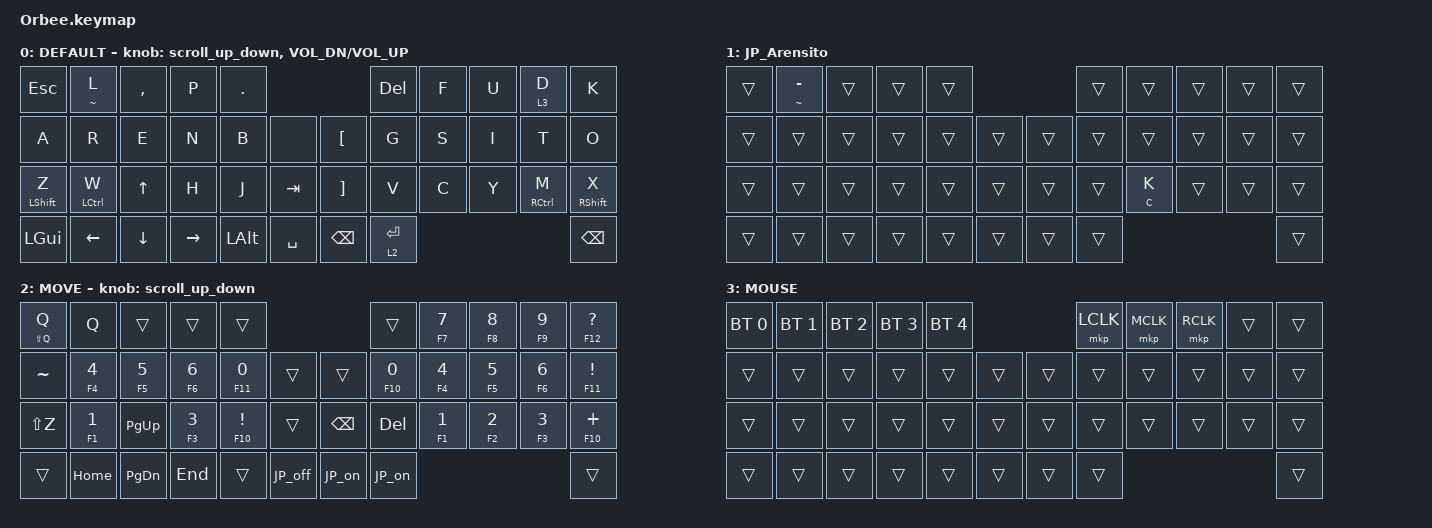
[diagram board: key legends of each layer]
#include <behaviors.dtsi>
#include <dt-bindings/zmk/bt.h>
#include <dt-bindings/zmk/keys.h>
#include <dt-bindings/zmk/pointing.h>

#define ZMK_POINTING_DEFAULT_SCRL_VAL 100
#define MOUSE 6

&mt {
    flavor = "balanced";
    quick-tap-ms = <0>;
};

/ {
    macros {
        to_layer_0: to_layer_0 {
            compatible = "zmk,behavior-macro-one-param";
            #binding-cells = <1>;
            bindings = <&to 0 &macro_param_1to1 &kp MACRO_PLACEHOLDER>;
            label = "TO_LAYER_0";
        };

        backslash: backslash {
            compatible = "zmk,behavior-macro";
            #binding-cells = <0>;
            bindings = <&kp 0x89>;
            label = "BACKSLASH";
        };

        pipe: pipe {
            compatible = "zmk,behavior-macro";
            #binding-cells = <0>;
            bindings = <&kp LS(0x89)>;
            label = "PIPE";
        };

        under: under {
            compatible = "zmk,behavior-macro";
            #binding-cells = <0>;
            bindings = <&kp LS(0x87)>;
            label = "UNDER";
        };

        JP_on: JP_on {
            compatible = "zmk,behavior-macro";
            #binding-cells = <0>;
            bindings = <&to 1 &kp INT_HENKAN>;
            label = "JP_ON";
        };

        JP_off: JP_off {
            compatible = "zmk,behavior-macro";
            #binding-cells = <0>;
            bindings = <&to 0 &kp INT_MUHENKAN>, <&macro_press>;

            label = "JP_OFF";
        };
    };

    behaviors {
        touch_behavior_1: touch1 {
            compatible = "zmk,behavior-momentary";
            label = "TouchKey1";
            bindings = <&kp A>;
        };

        touch_behavior_2: touch2 {
            compatible = "zmk,behavior-momentary";
            label = "TouchKey2";
            bindings = <&kp B>;
        };

        touch_behavior_3: touch3 {
            compatible = "zmk,behavior-momentary";
            label = "TouchKey3";
            bindings = <&mo 1>;
        };

        lt_to_layer_0: lt_to_layer_0 {
            compatible = "zmk,behavior-hold-tap";
            label = "LAYER_TAP_TO_0";
            bindings = <&mo>, <&to_layer_0>;

            #binding-cells = <2>;
            tapping-term-ms = <200>;
        };

        scroll_up_down: behavior_sensor_rotate_mouse_wheel_up_down {
            compatible = "zmk,behavior-sensor-rotate";
            #sensor-binding-cells = <0>;
            bindings = <&msc SCRL_UP>, <&msc SCRL_DOWN>;

            tap-ms = <20>;
        };
    };

    combos {
        compatible = "zmk,combos";

        // Mouse controls

        combo_left_click {
            key-positions = <6 18>; // y c
            bindings = <&mkp LCLK>;
        };

        combo_right_click {
            key-positions = <20 8>; // y m
            bindings = <&mkp RCLK>;
        };

        combo_middle_click {
            key-positions = <7 19>; // c y m
            bindings = <&mkp MCLK>;
        };

        combo_back {
            key-positions = <6 7>; // c v
            bindings = <&mkp MB4>;
        };

        combo_forward {
            key-positions = <8 7>; // m x
            bindings = <&mkp MB5>;
        };

        // Symbol combos based on default_layer layout

        combo_quote_double {
            key-positions = <1 3 2>; // l ,p
            bindings = <&kp DQT>; // " in JP keyboard
        };

        combo_grave {
            key-positions = <1 2>; // l ,
            bindings = <&kp GRAVE>; // ` in JP keyboard
        };

        combo_quote_single {
            key-positions = <2 3>; // , p
            bindings = <&kp SQT>; // ' in JP keyboard
        };

        combo_hash {
            key-positions = <0 10>; // Esc l
            bindings = <&kp HASH>;
        };

        combo_semicolon {
            key-positions = <2 12>; // , e
            bindings = <&kp SEMI>;
        };

        combo_pipe {
            key-positions = <3 13>; // p n
            bindings = <&kp PIPE>;
        };

        combo_colon {
            key-positions = <4 14>; // . b
            bindings = <&kp COLON>; // : in JP keyboard
        };

        combo_underscore {
            key-positions = <25 26>; // h j
            bindings = <&kp UNDER>;
        };

        combo_minus {
            key-positions = <13 14>; // n b
            bindings = <&kp MINUS>;
        };

        combo_equal {
            key-positions = <3 4>; // p .
            bindings = <&kp EQUAL>; // = in JP keyboard
        };

        combo_plus {
            key-positions = <35 37 24>; // left up down
            bindings = <&kp PLUS>; // + in JP keyboard
        };

        combo_asterisk {
            key-positions = <23 12 25>; // w e h
            bindings = <&kp ASTRK>; // * in JP keyboard
        };

        combo_caret {
            key-positions = <11 2 13>; // r , n
            bindings = <&kp CARET>; // ^ in JP keyboard
        };

        combo_slash {
            key-positions = <11 2>; // r ,
            bindings = <&kp SLASH>;
        };

        combo_backslash {
            key-positions = <2 13>; // , n
            bindings = <&kp BSLH>;
        };

        combo_paren_left {
            key-positions = <0 1>; // f u
            bindings = <&mt RPAR LPAR>; // ( in JP keyboard
        };

        combo_paren_right {
            key-positions = <0 1 2>; // f u d
            bindings = <&kp RPAR>; // ) in JP keyboard
        };

        combo_prcnt {
            bindings = <&kp PRCNT>;
            key-positions = <3 30 20>;
        };

        combo_amps {
            bindings = <&kp AMPS>;
            key-positions = <10 13 8>;
        };

        combo_at {
            bindings = <&kp AT>;
            key-positions = <10 20 32>;
        };

        combo_dllr {
            bindings = <&kp DLLR>;
            key-positions = <1 11 8>;
        };

        combo_henkan {
            bindings = <&JP_on>;
            key-positions = <40 41>;
        };

        combo_muhenkan {
            bindings = <&JP_off>;
            key-positions = <39 38>;
        };
    };

    keymap {
        compatible = "zmk,keymap";

        DEFAULT {
            bindings = <
&kp ESC           &mt TILDE L  &kp COMMA  &kp P      &kp DOT                          &kp DEL      &kp F  &kp U  &lt 3 D      &kp K
&kp A             &kp R        &kp E      &kp N      &kp B     &none        &kp LBKT  &kp G        &kp S  &kp I  &kp T        &kp O
&mt LEFT_SHIFT Z  &mt LCTRL W  &kp UP     &kp H      &kp J     &kp TAB      &kp RBKT  &kp V        &kp C  &kp Y  &mt RCTRL M  &mt RSHIFT X
&kp LGUI          &kp LEFT     &kp DOWN   &kp RIGHT  &kp LALT  &kp SPACE    &kp BSPC  &lt 2 ENTER                             &kp BSPC
            >;

            sensor-bindings =
                <&scroll_up_down>,
                <&inc_dec_kp C_VOL_DN C_VOL_UP>;
        };

        JP_Arensito {
            bindings = <
&trans  &mt TILDE MINUS  &trans  &trans  &trans                    &trans  &trans   &trans  &trans  &trans
&trans  &trans           &trans  &trans  &trans  &trans    &trans  &trans  &trans   &trans  &trans  &trans
&trans  &trans           &trans  &trans  &trans  &trans    &trans  &trans  &mt C K  &trans  &trans  &trans
&trans  &trans           &trans  &trans  &trans  &trans    &trans  &trans                           &trans
            >;
        };

        MOVE {
            bindings = <
&mt LS(Q) Q  &kp Q      &trans     &trans     &trans                             &trans      &mt F7 N7  &mt F8 N8  &mt F9 N9  &mt F12 QMARK
&kp TILDE    &mt F4 N4  &mt F5 N5  &mt F6 N6  &mt F11 N0    &trans     &trans    &mt F10 N0  &mt F4 N4  &mt F5 N5  &mt F6 N6  &mt F11 EXCL
&kp LS(Z)    &mt F1 N1  &kp PG_UP  &mt F3 N3  &mt F10 EXCL  &trans     &kp BSPC  &kp DEL     &mt F1 N1  &mt F2 N2  &mt F3 N3  &mt F10 PLUS
&trans       &kp HOME   &kp PG_DN  &kp END    &trans        &JP_off    &JP_on    &JP_on                                       &trans
            >;

            sensor-bindings = <&scroll_up_down>;
        };

        MOUSE {
            bindings = <
&bt BT_SEL 0  &bt BT_SEL 1  &bt BT_SEL 2  &bt BT_SEL 3  &bt BT_SEL 4                    &mkp LCLK  &mkp MCLK  &mkp RCLK  &trans  &trans
&trans        &trans        &trans        &trans        &trans        &trans    &trans  &trans     &trans     &trans     &trans  &trans
&trans        &trans        &trans        &trans        &trans        &trans    &trans  &trans     &trans     &trans     &trans  &trans
&trans        &trans        &trans        &trans        &trans        &trans    &trans  &trans                                   &trans
            >;
        };
    };
};
